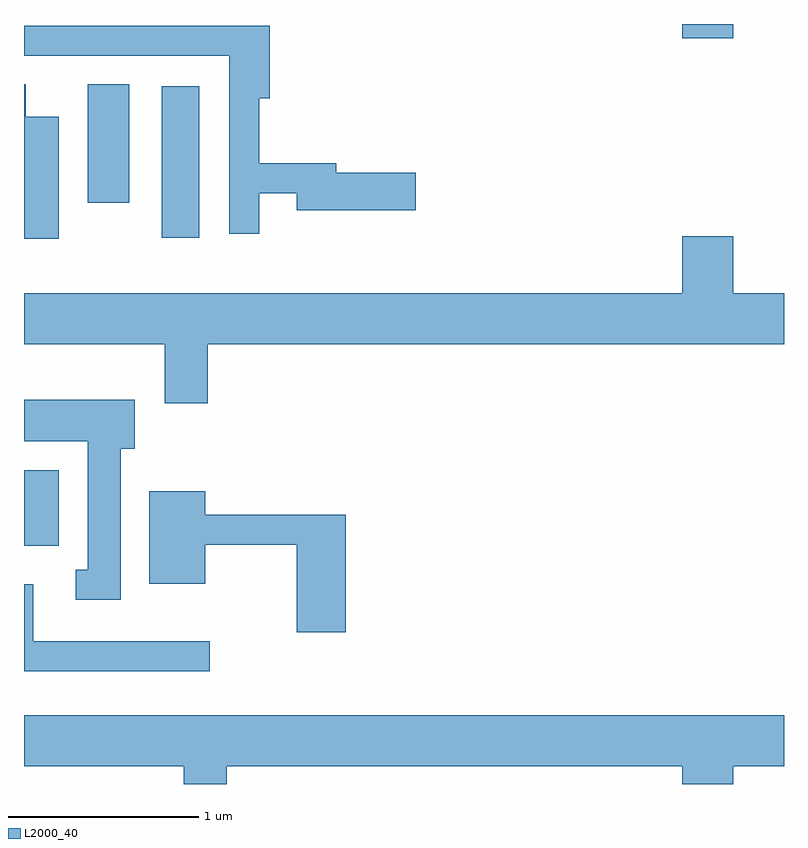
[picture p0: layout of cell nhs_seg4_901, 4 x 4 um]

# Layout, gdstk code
import gdstk
lib = gdstk.Library(unit=1e-6, precision=1e-09)
def R(c, l, rs):  # rectangles x0, y0, x1, y1
    for r in rs: c.add(gdstk.rectangle(r[:2], r[2:], *l))
def P(c, l, *ps):  # polygons
    for p in ps: c.add(gdstk.Polygon(p, *l))
L2000_40 = (2000, 40)

nhs_seg4_901 = lib.new_cell('nhs_seg4_901')
R(nhs_seg4_901, L2000_40, [(211.611,1289.236,211.794,1289.634), (212.336,1290.856,212.534,1291.654), (211.946,1291.041,212.164,1291.664), (215.076,1291.906,215.344,1291.982)])
P(nhs_seg4_901, L2000_40, [(212.849,1291.091),(213.046,1291.091),(213.046,1291.001),(213.674,1291.001),(213.674,1291.199),(213.254,1291.199),(213.254,1291.249),(212.849,1291.249),(212.849,1291.591),(212.904,1291.591),(212.904,1291.974),(211.611,1291.974),(211.611,1291.816),(212.691,1291.816),(212.691,1290.878),(212.849,1290.878)],
  [(211.794,1291.494),(211.619,1291.494),(211.619,1291.664),(211.611,1291.664),(211.611,1290.851),(211.794,1290.851)],
  [(212.579,1290.296),(215.611,1290.296),(215.611,1290.564),(215.344,1290.564),(215.344,1290.864),(215.076,1290.864),(215.076,1290.564),(211.611,1290.564),(211.611,1290.296),(212.351,1290.296),(212.351,1289.986),(212.579,1289.986)],
  [(212.119,1289.746),(212.194,1289.746),(212.194,1290.004),(211.611,1290.004),(211.611,1289.786),(211.946,1289.786),(211.946,1289.109),(211.883,1289.109),(211.883,1288.951),(212.119,1288.951)],
  [(213.304,1289.399),(212.564,1289.399),(212.564,1289.524),(212.271,1289.524),(212.271,1289.036),(212.564,1289.036),(212.564,1289.241),(213.046,1289.241),(213.046,1288.781),(213.304,1288.781)],
  [(212.588,1288.734),(211.659,1288.734),(211.659,1289.034),(211.611,1289.034),(211.611,1288.576),(212.588,1288.576)],
  [(212.679,1288.076),(215.076,1288.076),(215.076,1287.982),(215.344,1287.982),(215.344,1288.076),(215.611,1288.076),(215.611,1288.344),(211.611,1288.344),(211.611,1288.076),(212.451,1288.076),(212.451,1287.982),(212.679,1287.982)])

lib.write_gds('nhs_seg4_901.gds')
